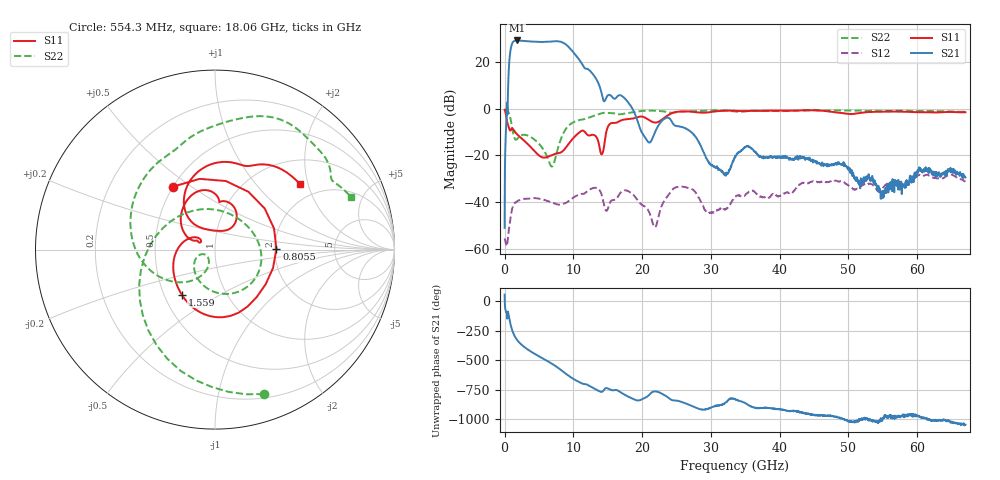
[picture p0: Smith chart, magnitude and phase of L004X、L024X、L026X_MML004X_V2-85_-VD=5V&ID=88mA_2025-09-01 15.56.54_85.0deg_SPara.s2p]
!Keysight Technologies,N5247B,MY63057157,A.17.10.07
!Date: Monday, September 01, 2025 16:03:51
!Correction: S11(C  2-Port  )
!S21(C  2-Port  )
!S12(C  2-Port  )
!S22(C  2-Port  )
!S2P File: Measurements: S11, S21, S12, S22:
# Hz S  dB  R 50
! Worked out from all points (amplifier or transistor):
!   1601 points, 10 MHz to 67 GHz, reference 50 ohm
!   highest |S21| = 29.2 dB at 1.768 GHz (marker M1)
!   |S21| within 3 dB of that: 943.7 MHz to 9.391 GHz (8.447 GHz wide, 163 % of centre)
!   unconditionally stable (mu >= 1): start of sweep to end of sweep
!   at 11.15 GHz: K = 2.24, MAG = 21.9 dB, |S12| = -36.6 dB
!   at 33.51 GHz: K = 19.52, MAG = -7.1 dB, |S12| = -37.9 dB
!   at 67 GHz: K = 41.11, MAG = -18.3 dB, |S12| = -31.3 dB
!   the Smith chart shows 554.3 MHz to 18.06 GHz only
!   S11 on the Smith chart (normalised r, x): 554.3 MHz: 0.50, +0.42; 805.5 MHz: 2.04, +0.02; 1.559 GHz: 0.61, -0.34; 18.06 GHz: 1.58, +1.78
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1e7  -0.59 -26.4  -51.09 56.4  -55.63 70.2  -0.18 -12.2
5.542938e8  -7.50 124.0  12.35 -101.8  -53.81 -71.6  -1.42 -71.4
8.055062e8  -9.32 0.6  23.69 -178.8  -48.35 -176.8  -3.55 -113.5
1.224194e9  -8.75 -99.3  28.51 95.9  -41.78 123.2  -10.06 157.4
1.559144e9  -10.11 -126.4  29.13 55.0  -40.24 92.6  -13.20 82.0
1.768488e9  -10.83 -138.3  29.21 36.1  -39.85 79.3  -13.21 43.9
2.605862e9  -13.09 -173.8  29.05 -15.6  -38.75 46.4  -11.25 -29.0
3.317631e9  -15.00 164.9  28.89 -46.9  -38.61 29.6  -11.46 -62.6
4.113138e9  -17.40 149.3  28.72 -76.8  -38.34 14.4  -12.73 -94.2
5.536675e9  -20.92 149.0  28.57 -124.3  -38.89 -5.5  -17.03 -145.5
7.085819e9  -19.66 154.9  28.83 -176.9  -40.36 -15.8  -24.13 -126.2
7.881325e9  -19.05 153.1  28.82 151.2  -41.15 -13.8  -15.77 -117.7
8.802438e9  -17.13 157.5  27.74 110.4  -40.53 -7.2  -9.21 -154.4
9.891025e9  -12.99 145.7  24.56 66.0  -38.38 -8.4  -6.02 160.4
1.118896e10  -9.55 111.1  19.55 24.8  -36.57 -24.6  -4.70 121.6
1.332426e10  -12.05 62.9  12.76 -29.1  -33.98 -64.9  -2.77 82.3
1.805543e10  -4.47 37.4  2.43 -90.3  -35.46 -101.6  -1.81 21.3
2.236791e10  -5.65 -0.5  -7.22 -50.2  -46.46 17.7  -0.96 -18.7
3.3505e10  -0.95 -81.5  -20.34 -110.5  -37.87 -118.8  -1.24 -74.1
4.468396e10  -0.70 -125.7  -22.21 122.6  -31.25 167.7  -0.73 -108.1
5.586291e10  -1.28 -152.3  -34.12 107.6  -32.01 125.8  -0.87 -140.3
6.7e10  -1.55 -180.0  -29.49 33.1  -31.29 53.5  -1.26 -172.7
